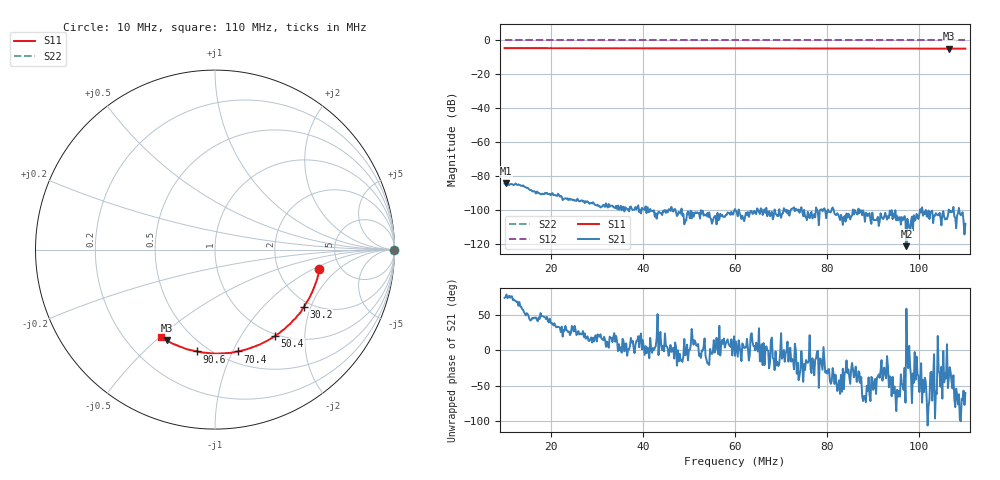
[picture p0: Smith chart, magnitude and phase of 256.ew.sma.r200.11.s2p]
! Anritsu VNA Master:  Model: MS2036C/10/77
! SN:  1601066
! /card0/usr/256.ew.sma.r200.11.s2p
! Existing Calibration Information:
! TYPE:  Current Settings,  Active Cal Settings
! TIME:  12/19/2017 02:31:30 PM,  12/19/2017 02:22:10 PM
! INTERNAL TEMP:  46.0 C,  45.0 C
! # POINTS:  501,  501
! START FREQ:  10.000 MHz,  10.000 MHz
! STOP FREQ:  110.000 MHz,  110.000 MHz
! SOURCE POWER:  High,  High
! IFBW:  100 Hz,  100 Hz
! AVG FACTOR:  1 ,  1
! REF PLANE 1:  0 mm,  0 mm
! REF PLANE 2:  0 mm,  0 mm
! CAL TYPE:  Full S11,  Full S11
! CAL METHOD:  SOLT,  SOLT
! CAL LINE TYPE:  Coax,  Coax
! DUT PORT 1:  N-Conn(F),  N-Conn(F)
! DUT PORT 2:  K-Conn(F),  K-Conn(F)
! CAL STATUS:  OK: Accuracy High,  --
# GHZ S RI R 50.0
! FREQ.GHZ  S11RE  S11IM  S21RE  S21IM  S12RE  S12IM  S22RE  S22IM
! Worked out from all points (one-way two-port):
!   501 points, 10 MHz to 110 MHz, reference 50 ohm
!   highest |S21| = -84.38 dB at 10.2 MHz (marker M1); lowest = -121.5 dB at 97.2 MHz (marker M2)
!   lowest |S11| = -4.8 dB at 106.4 MHz (marker M3), VSWR 3.68, Z = 18 - j27.1 ohm
!   |S11| at or under -10 dB: nowhere
!   |S22| runs from 0.0 to 0.0 dB; largest |S21 - S12| = 1
!   S11 on the Smith chart (normalised r, x): 10 MHz: 3.47, -1.18; 30.2 MHz: 1.83, -1.79; 50.4 MHz: 0.98, -1.43; 70.4 MHz: 0.61, -1.05; 90.6 MHz: 0.44, -0.74; 110 MHz: 0.35, -0.50
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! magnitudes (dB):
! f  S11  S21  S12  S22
! 10 MHz  -4.6  -84.6  0.0  0.0
! 10.2 MHz  -4.6  -84.4  0.0  0.0
! 26.8 MHz  -4.6  -94.4  0.0  0.0
! 30.2 MHz  -4.6  -97.0  0.0  0.0
! 33.2 MHz  -4.6  -97.6  0.0  0.0
! 35.6 MHz  -4.6  -98.4  0.0  0.0
! 37.2 MHz  -4.6  -98.3  0.0  0.0
! 38.8 MHz  -4.6  -98.6  0.0  0.0
! 40.6 MHz  -4.6  -98.0  0.0  0.0
! 43.4 MHz  -4.6  -101.2  0.0  0.0
! 44.4 MHz  -4.6  -100.5  0.0  0.0
! 50.4 MHz  -4.7  -100.5  0.0  0.0
! 60 MHz  -4.7  -99.6  0.0  0.0
! 70.4 MHz  -4.7  -102.1  0.0  0.0
! 73.8 MHz  -4.7  -99.9  0.0  0.0
! 76.8 MHz  -4.7  -105.2  0.0  0.0
! 81.2 MHz  -4.7  -98.7  0.0  0.0
! 90.6 MHz  -4.8  -106.1  0.0  0.0
! 93.4 MHz  -4.8  -104.9  0.0  0.0
! 97.2 MHz  -4.8  -121.5  0.0  0.0
! 106.4 MHz  -4.8  -99.9  0.0  0.0
! 110 MHz  -4.8  -108.3  0.0  0.0
